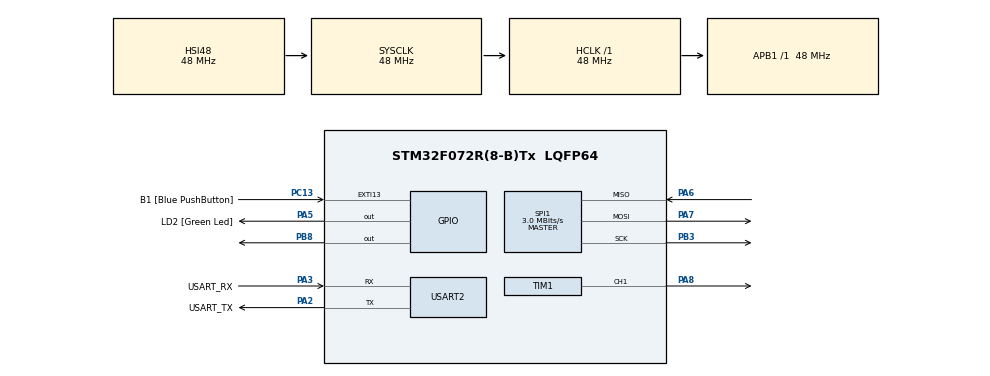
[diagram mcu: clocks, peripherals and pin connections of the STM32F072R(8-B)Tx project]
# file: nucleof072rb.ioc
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Mcu.Family=STM32F0
Mcu.Name=STM32F072R(8-B)Tx
Mcu.Package=LQFP64
PA13.GPIO_Label=TMS
PA13.Mode=Serial_Wire
PA13.Signal=SYS_SWDIO
PA14.GPIO_Label=TCK
PA14.Mode=Serial_Wire
PA14.Signal=SYS_SWCLK
PA2.GPIO_Label=USART_TX
PA2.GPIO_Mode=GPIO_MODE_AF_PP
PA2.GPIO_PuPd=GPIO_NOPULL
PA2.GPIO_Speed=GPIO_SPEED_FREQ_LOW
PA2.Mode=Asynchronous
PA2.Signal=USART2_TX
PA3.GPIO_Label=USART_RX
PA3.GPIO_Mode=GPIO_MODE_AF_PP
PA3.GPIO_PuPd=GPIO_NOPULL
PA3.GPIO_Speed=GPIO_SPEED_FREQ_LOW
PA3.Mode=Asynchronous
PA3.Signal=USART2_RX
PA5.GPIO_Label=LD2 [Green Led]
PA5.GPIO_Mode=GPIO_MODE_OUTPUT_PP
PA5.GPIO_PuPd=GPIO_NOPULL
PA5.GPIO_Speed=GPIO_SPEED_FREQ_LOW
PA5.Signal=GPIO_Output
PA6.Mode=Full_Duplex_Master
PA6.Signal=SPI1_MISO
PA7.Mode=Full_Duplex_Master
PA7.Signal=SPI1_MOSI
PA8.Signal=S_TIM1_CH1
PB3.Mode=Full_Duplex_Master
PB3.Signal=SPI1_SCK
PB8.Signal=GPIO_Output
PC13.GPIO_Label=B1 [Blue PushButton]
PC13.GPIO_ModeDefaultEXTI=GPIO_MODE_IT_FALLING
PC13.Signal=GPXTI13
PC14-OSC32_IN.Mode=LSE-External-Oscillator
PC14-OSC32_IN.Signal=RCC_OSC32_IN
PC15-OSC32_OUT.Mode=LSE-External-Oscillator
PC15-OSC32_OUT.Signal=RCC_OSC32_OUT
PF0-OSC_IN.Mode=HSE-External-Clock-Source
PF0-OSC_IN.Signal=RCC_OSC_IN
PF1-OSC_OUT.Signal=RCC_OSC_OUT
ProjectManager.HeapSize=0x200
ProjectManager.StackSize=0x400
ProjectManager.TargetToolchain=STM32CubeIDE
RCC.AHBFreq_Value=48000000
RCC.APB1Freq_Value=48000000
RCC.APB1TimFreq_Value=48000000
RCC.FLatency-AdvancedSettings=FLASH_LATENCY_1
RCC.HCLKFreq_Value=48000000
RCC.PLLDivider=RCC_PREDIV_DIV2
RCC.PLLMUL=RCC_PLL_MUL12
RCC.PREFETCH_ENABLE-AdvancedSettings=1
RCC.SYSCLKFreq_VALUE=48000000
RCC.SYSCLKSource=RCC_SYSCLKSOURCE_HSI48
SH.S_TIM1_CH1.0=TIM1_CH1,PWM Generation1 CH1
SPI1.BaudRatePrescaler=SPI_BAUDRATEPRESCALER_16
SPI1.CLKPhase=SPI_PHASE_1EDGE
SPI1.CalculateBaudRate=3.0 MBits/s
SPI1.DataSize=SPI_DATASIZE_8BIT
SPI1.Direction=SPI_DIRECTION_2LINES
SPI1.FirstBit=SPI_FIRSTBIT_MSB
SPI1.Mode=SPI_MODE_MASTER
SPI1.VirtualType=VM_MASTER
TIM1.AutoReloadPreload=TIM_AUTORELOAD_PRELOAD_ENABLE
TIM1.Channel-PWM\ Generation1\ CH1=TIM_CHANNEL_1
TIM1.Period=60000
TIM1.Prescaler=15
TIM1.Pulse-PWM\ Generation1\ CH1=0
USART2.VirtualMode=VM_ASYNC
USART2.VirtualMode-Asynchronous=VM_ASYNC
VP_TIM1_VS_ClockSourceINT.Mode=Internal
board=NUCLEO-F072RB

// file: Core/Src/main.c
/* USER CODE BEGIN Header */
/**
  ******************************************************************************
  * @file           : main.c
  * @brief          : Main program body
  ******************************************************************************
  * @attention
  *
  * <h2><center>&copy; Copyright (c) 2021 STMicroelectronics.
  * All rights reserved.</center></h2>
  *
  * This software component is licensed by ST under BSD 3-Clause license,
  * the "License"; You may not use this file except in compliance with the
  * License. You may obtain a copy of the License at:
  *                        opensource.org/licenses/BSD-3-Clause
  *
  ******************************************************************************
  */
/* USER CODE END Header */
#include "main.h"
#include "spi.h"
#include "tim.h"
#include "usart.h"
#include "gpio.h"

/* USER CODE BEGIN PV */
const uint16_t max_adc_val = 0x3FF; // max adc val = 1023
/* USER CODE END PV */

void SystemClock_Config(void);
/* USER CODE BEGIN PFP */
uint16_t handle_adc();
/* USER CODE END PFP */

int main(void)
{

  /* MCU Configuration--------------------------------------------------------*/

  /* Reset of all peripherals, Initializes the Flash interface and the Systick. */
  HAL_Init();

  /* Configure the system clock */
  SystemClock_Config();

  /* Initialize all configured peripherals */
  MX_GPIO_Init();
  MX_USART2_UART_Init();
  MX_SPI1_Init();
  MX_TIM1_Init();
  /* USER CODE BEGIN 2 */

  // bring CS pin to high
  HAL_GPIO_WritePin(GPIOB, GPIO_PIN_8, GPIO_PIN_SET);

  HAL_TIM_PWM_Start(&htim1, TIM_CHANNEL_1);

  /* USER CODE END 2 */

  /* Infinite loop */
  /* USER CODE BEGIN WHILE */
  while (1)
  {
	uint16_t read = handle_adc();

	// 5% <= duty cycle <= 10%
	// cycle*0.05 + (cycle*0.1-cycle*0.05)*(adc_val/max_adc_val)
	uint16_t pwm_val = (htim1.Init.Period*0.05)+ ((htim1.Init.Period*0.05)*(read/max_adc_val));

	__HAL_TIM_SET_COMPARE(&htim1, TIM_CHANNEL_1, pwm_val);

	HAL_Delay(10);
    /* USER CODE END WHILE */

  }
}

void SystemClock_Config(void)
{
  RCC_OscInitTypeDef RCC_OscInitStruct = {0};
  RCC_ClkInitTypeDef RCC_ClkInitStruct = {0};
  RCC_PeriphCLKInitTypeDef PeriphClkInit = {0};

  /** Initializes the RCC Oscillators according to the specified parameters
  * in the RCC_OscInitTypeDef structure.
  */
  RCC_OscInitStruct.OscillatorType = RCC_OSCILLATORTYPE_HSI48;
  RCC_OscInitStruct.HSI48State = RCC_HSI48_ON;
  RCC_OscInitStruct.PLL.PLLState = RCC_PLL_NONE;
  if (HAL_RCC_OscConfig(&RCC_OscInitStruct) != HAL_OK)
  {
    Error_Handler();
  }

  /** Initializes the CPU, AHB and APB buses clocks
  */
  RCC_ClkInitStruct.ClockType = RCC_CLOCKTYPE_HCLK|RCC_CLOCKTYPE_SYSCLK
                              |RCC_CLOCKTYPE_PCLK1;
  RCC_ClkInitStruct.SYSCLKSource = RCC_SYSCLKSOURCE_HSI48;
  RCC_ClkInitStruct.AHBCLKDivider = RCC_SYSCLK_DIV1;
  RCC_ClkInitStruct.APB1CLKDivider = RCC_HCLK_DIV1;

  if (HAL_RCC_ClockConfig(&RCC_ClkInitStruct, FLASH_LATENCY_1) != HAL_OK)
  {
    Error_Handler();
  }
  PeriphClkInit.PeriphClockSelection = RCC_PERIPHCLK_USART2;
  PeriphClkInit.Usart2ClockSelection = RCC_USART2CLKSOURCE_PCLK1;
  if (HAL_RCCEx_PeriphCLKConfig(&PeriphClkInit) != HAL_OK)
  {
    Error_Handler();
  }
}

/* USER CODE BEGIN 4 */
uint16_t handle_adc() {

	// transmit data
	uint8_t trans_data[3] = {0x01, 0x80, 0x0}; // first byte doesn't matter, 2nd byte need to target channel 1 single, 3rd byte doesn't matter
	// read data
	uint8_t read_data[3];
	// Pull CS pin to low
	HAL_GPIO_WritePin(GPIOB, GPIO_PIN_8, GPIO_PIN_RESET);

	// Transmit and read
	HAL_SPI_TransmitReceive(&hspi1, trans_data, read_data, 3, HAL_MAX_DELAY);

	// Pull CS pin back to high
	HAL_GPIO_WritePin(GPIOB, GPIO_PIN_8, GPIO_PIN_SET);
	uint16_t read_adc = ((read_data[1] & 0b00000011) << 8 ) | read_data[2]; // get last 10 bits from read data

	return read_adc;
}
/* USER CODE END 4 */

void Error_Handler(void)
{
  __disable_irq();
  while (1)
  {
  }
}
